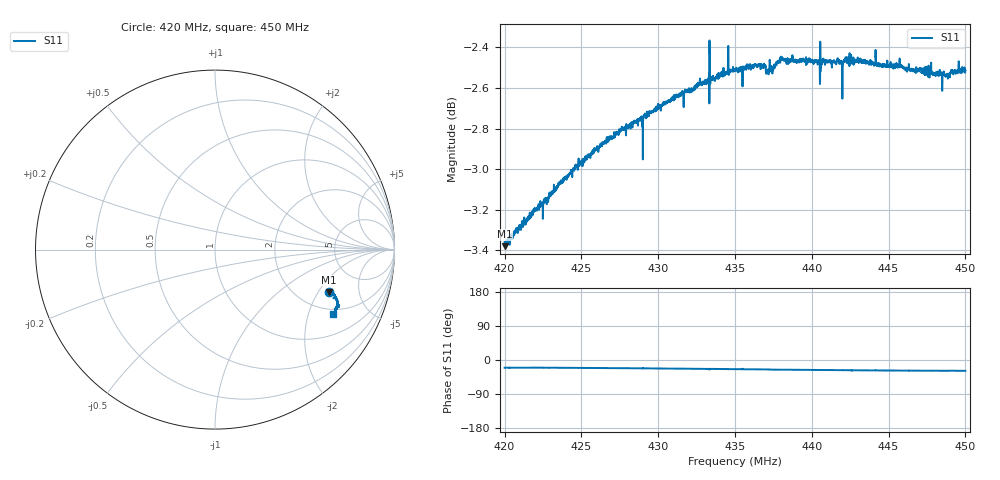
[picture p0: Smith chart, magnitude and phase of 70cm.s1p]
! Calibrated averaged scanner-service zoom
# Hz S RI R 50
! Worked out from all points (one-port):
!   3001 points, 420 MHz to 450 MHz, reference 50 ohm
!   lowest |S11| = -3.4 dB at 420 MHz (marker M1), VSWR 5.20, Z = 143 - j125 ohm
!   |S11| at or under -10 dB: nowhere
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4.2e8  0.6364 -0.2376
4.2002e8  0.6351 -0.2364
4.2048e8  0.6378 -0.2367
4.2237e8  0.6509 -0.241
4.2375e8  0.6578 -0.2472
4.2538e8  0.6654 -0.2545
4.275e8  0.6726 -0.2661
4.3125e8  0.6806 -0.2857
4.3265e8  0.6837 -0.2921
4.331e8  0.6822 -0.295
4.332e8  0.6832 -0.2963
4.3343e8  0.6831 -0.2979
4.3351e8  0.683 -0.298
4.35e8  0.6832 -0.3057
4.3685e8  0.6814 -0.314
4.3709e8  0.6772 -0.3185
4.3744e8  0.6754 -0.3205
4.3807e8  0.6797 -0.3267
4.3875e8  0.6783 -0.3284
4.3916e8  0.6778 -0.3266
4.4188e8  0.6716 -0.3392
4.425e8  0.6697 -0.3455
4.4625e8  0.6624 -0.3511
4.4684e8  0.6615 -0.3511
4.4722e8  0.6581 -0.3547
4.4877e8  0.6566 -0.3551
4.4918e8  0.6587 -0.3551
4.5e8  0.6576 -0.358
